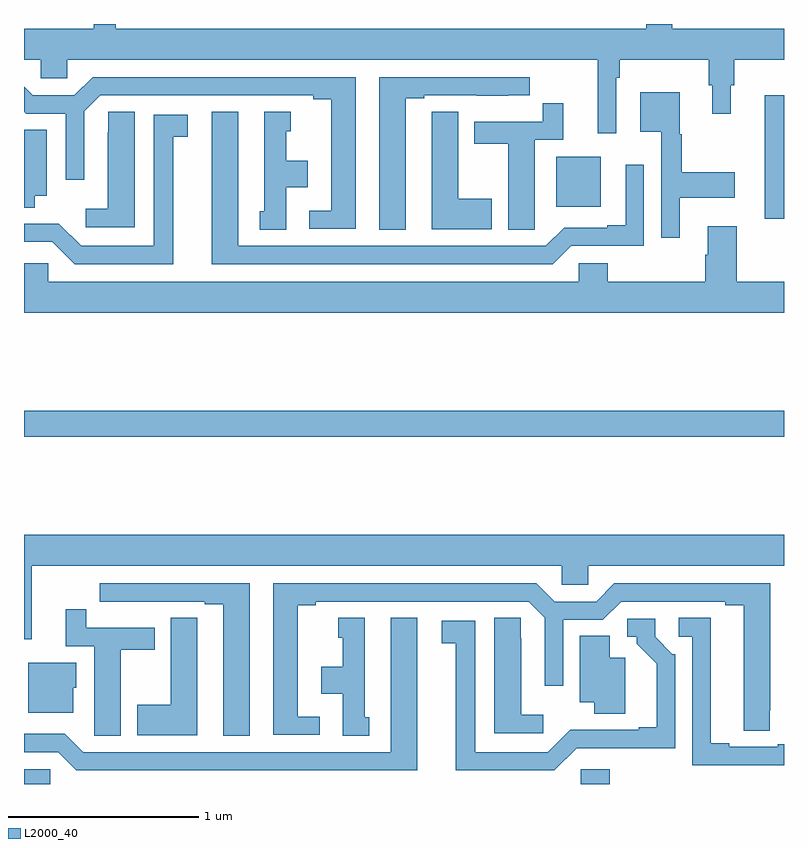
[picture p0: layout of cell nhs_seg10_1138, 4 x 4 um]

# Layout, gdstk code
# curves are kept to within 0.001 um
import gdstk
lib = gdstk.Library(unit=1e-6, precision=1e-09)
def R(c, l, rs):  # rectangles x0, y0, x1, y1
    for r in rs: c.add(gdstk.rectangle(r[:2], r[2:], *l))
def P(c, l, *ps):  # polygons
    for p in ps: c.add(gdstk.Polygon(p, *l))
L2000_40 = (2000, 40)

nhs_seg10_1138 = lib.new_cell('nhs_seg10_1138')
R(nhs_seg10_1138, L2000_40, [(169,1300.5,169.137,1300.578), (171.93,1300.5,172.082,1300.578), (169,1302.328,173,1302.464), (172.898,1303.476,173,1304.125), (171.8,1303.538,172.036,1303.801)])
P(nhs_seg10_1138, L2000_40, [(172.116,1304.216),(172.136,1304.216),(172.136,1304.312),(172.603,1304.312),(172.603,1304.178),(172.622,1304.178),(172.622,1304.028),(172.72,1304.028),(172.72,1304.178),(172.739,1304.178),(172.739,1304.312),(173,1304.312),(173,1304.476),(172.413,1304.476),(172.413,1304.5),(172.275,1304.5),(172.275,1304.476),(169.484,1304.476),(169.484,1304.5),(169.366,1304.5),(169.366,1304.476),(169,1304.476),(169,1304.312),(169.089,1304.312),(169.089,1304.214),(169.227,1304.214),(169.227,1304.312),(172.019,1304.312),(172.019,1303.926),(172.116,1303.926)],
  [(171.01,1304.109),(171.106,1304.109),(171.106,1304.124),(171.382,1304.124),(171.382,1304.123),(171.548,1304.123),(171.548,1304.124),(171.661,1304.124),(171.661,1304.22),(170.87,1304.22),(170.87,1303.417),(171.01,1303.417)],
  [(170.746,1304.22),(169.361,1304.22),(169.265,1304.124),(169.047,1304.124),(169,1304.171),(169,1304.039),(169.011,1304.028),(169.221,1304.028),(169.221,1303.68),(169.317,1303.68),(169.317,1304.04),(169.401,1304.124),(170.522,1304.124),(170.522,1304.104),(170.618,1304.104),(170.618,1303.518),(170.502,1303.518),(170.502,1303.422),(170.746,1303.422)],
  [(172.45,1303.586),(172.741,1303.586),(172.741,1303.721),(172.462,1303.721),(172.462,1303.92),(172.45,1303.92),(172.45,1304.14),(172.244,1304.14),(172.244,1303.934),(172.353,1303.934),(172.353,1303.374),(172.45,1303.374)],
  [(171.687,1303.528),(171.688,1303.528),(171.688,1303.89),(171.839,1303.89),(171.839,1304.083),(171.73,1304.083),(171.73,1303.986),(171.371,1303.986),(171.371,1303.87),(171.548,1303.87),(171.548,1303.417),(171.687,1303.417)],
  [(171.463,1303.581),(171.286,1303.581),(171.286,1304.039),(171.147,1304.039),(171.147,1303.931),(171.146,1303.931),(171.146,1303.421),(171.463,1303.421)],
  [(169.582,1304.039),(169.443,1304.039),(169.443,1303.931),(169.442,1303.931),(169.442,1303.528),(169.326,1303.528),(169.326,1303.431),(169.582,1303.431)],
  [(170.38,1303.64),(170.494,1303.64),(170.494,1303.78),(170.38,1303.78),(170.38,1303.935),(170.404,1303.935),(170.404,1304.038),(170.264,1304.038),(170.264,1303.515),(170.24,1303.515),(170.24,1303.417),(170.38,1303.417)],
  [(171.879,1303.332),(172.263,1303.332),(172.263,1303.759),(172.166,1303.759),(172.166,1303.441),(172.07,1303.441),(172.07,1303.428),(171.843,1303.428),(171.747,1303.332),(170.128,1303.332),(170.128,1304.038),(169.988,1304.038),(169.988,1303.236),(171.783,1303.236)],
  [(169.786,1303.906),(169.861,1303.906),(169.861,1304.022),(169.682,1304.022),(169.682,1303.332),(169.302,1303.332),(169.184,1303.45),(169,1303.449),(169,1303.353),(169.149,1303.353),(169.266,1303.236),(169.786,1303.236)],
  [(169.057,1303.595),(169.12,1303.595),(169.12,1303.943),(169,1303.943),(169,1303.534),(169.057,1303.534)],
  [(173,1303.144),(172.751,1303.144),(172.751,1303.435),(172.598,1303.435),(172.598,1303.286),(172.586,1303.286),(172.586,1303.144),(172.073,1303.144),(172.073,1303.242),(171.921,1303.242),(171.921,1303.144),(169.128,1303.144),(169.128,1303.242),(169,1303.242),(169,1302.98),(173,1302.98)],
  [(169.04,1301.648),(171.831,1301.648),(171.831,1301.55),(171.969,1301.55),(171.969,1301.648),(173,1301.648),(173,1301.812),(169,1301.812),(169,1301.262),(169.04,1301.262)],
  [(170.557,1300.854),(170.44,1300.854),(170.44,1301.44),(170.536,1301.44),(170.536,1301.46),(171.657,1301.46),(171.741,1301.376),(171.741,1301.016),(171.837,1301.016),(171.837,1301.364),(172.047,1301.364),(172.143,1301.46),(172.691,1301.46),(172.691,1301.44),(172.787,1301.44),(172.787,1300.78),(172.926,1300.78),(172.927,1301.556),(172.107,1301.556),(172.011,1301.46),(171.793,1301.46),(171.697,1301.556),(170.312,1301.556),(170.312,1300.758),(170.557,1300.758)],
  [(170.188,1301.556),(169.398,1301.556),(169.398,1301.46),(169.51,1301.46),(169.51,1301.459),(169.676,1301.459),(169.676,1301.46),(169.952,1301.46),(169.952,1301.445),(170.048,1301.445),(170.048,1300.753),(170.188,1300.753)],
  [(169.51,1301.206),(169.687,1301.206),(169.687,1301.322),(169.328,1301.322),(169.328,1301.419),(169.22,1301.419),(169.22,1301.226),(169.37,1301.226),(169.37,1300.864),(169.371,1300.864),(169.371,1300.753),(169.51,1300.753)],
  [(171.733,1300.864),(171.616,1300.864),(171.616,1301.267),(171.615,1301.267),(171.615,1301.375),(171.476,1301.375),(171.476,1300.767),(171.733,1300.767)],
  [(173,1300.71),(172.967,1300.71),(172.967,1300.695),(172.711,1300.695),(172.711,1300.715),(172.615,1300.715),(172.615,1301.375),(172.446,1301.375),(172.446,1301.274),(172.518,1301.274),(172.518,1300.599),(173,1300.599)],
  [(169.912,1301.267),(169.911,1301.267),(169.911,1301.375),(169.772,1301.375),(169.772,1300.917),(169.595,1300.917),(169.595,1300.757),(169.912,1300.757)],
  [(171.07,1301.374),(170.93,1301.374),(170.93,1300.668),(169.311,1300.668),(169.215,1300.764),(169,1300.764),(169,1300.668),(169.179,1300.668),(169.275,1300.572),(171.07,1300.572)],
  [(170.818,1300.851),(170.794,1300.851),(170.794,1301.374),(170.654,1301.374),(170.654,1301.271),(170.678,1301.271),(170.678,1301.116),(170.564,1301.116),(170.564,1300.976),(170.678,1300.976),(170.678,1300.753),(170.818,1300.753)],
  [(171.909,1300.689),(172.428,1300.688),(172.428,1301.184),(172.413,1301.184),(172.323,1301.274),(172.323,1301.37),(172.176,1301.37),(172.176,1301.274),(172.226,1301.274),(172.226,1301.239),(172.331,1301.134),(172.331,1300.798),(172.235,1300.798),(172.235,1300.785),(171.874,1300.786),(171.756,1300.668),(171.376,1300.668),(171.376,1301.358),(171.198,1301.358),(171.198,1301.242),(171.272,1301.242),(171.272,1300.572),(171.792,1300.572)],
  [(172.165,1301.164),(172.084,1301.164),(172.084,1301.279),(171.926,1301.279),(171.926,1300.931),(172.001,1300.931),(172.001,1300.87),(172.165,1300.87)],
  [(169.258,1301.007),(169.276,1301.007),(169.276,1301.137),(169.022,1301.137),(169.022,1300.874),(169.258,1300.874)])

lib.write_gds('nhs_seg10_1138.gds')
